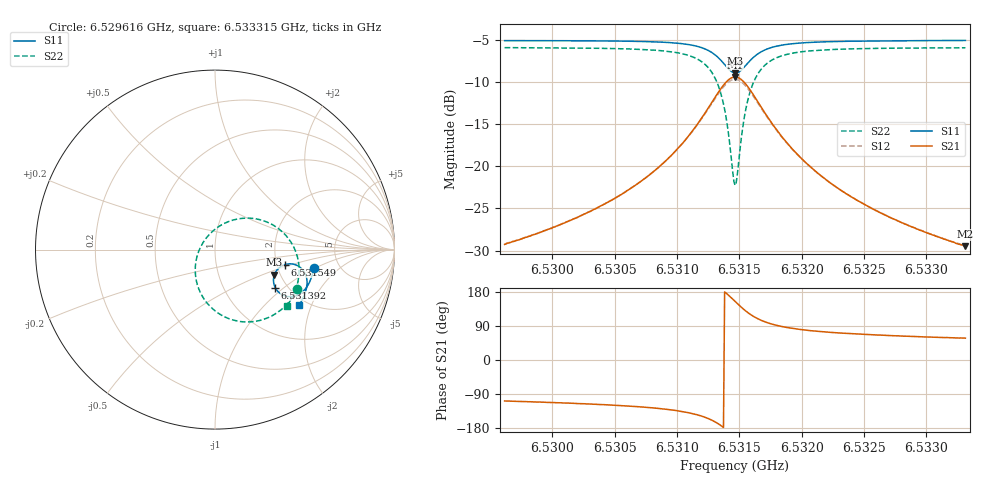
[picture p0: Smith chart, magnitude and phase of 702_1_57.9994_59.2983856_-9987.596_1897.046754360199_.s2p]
#  HZ  S  RI  R  50.00
! Rohde & Schwarz Vector Network Analyzer
! Rohde-Schwarz,ZNB20-2Port,1311601062101988,3.16
! Created: UTC 3/21/2024, 1:21:48 AM
! freq[Hz]  re:S11  im:S11  re:S21  im:S21  re:S12  im:S12  re:S22  im:S22
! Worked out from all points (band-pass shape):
!   401 points, 6.529616 GHz to 6.533315 GHz, reference 50 ohm
!   highest |S21| = -9.36 dB at 6.531466 GHz (marker M1); lowest = -29.5 dB at 6.533315 GHz (marker M2)
!   |S21| within 3 dB of the highest: 6.531281 GHz to 6.531651 GHz (369.9 kHz wide, 0.00566 % of centre)
!   lowest |S11| = -8.9 dB at 6.531466 GHz (marker M3), VSWR 2.12, Z = 93.2 - j29.9 ohm
!   |S11| at or under -10 dB: nowhere
!   |S22| runs from -22.2 to -5.9 dB; largest |S21 - S12| = 0.015
!   S11 on the Smith chart (normalised r, x): 6.529616 GHz: 3.24, -0.95; 6.531392 GHz: 1.73, -0.87; 6.531549 GHz: 2.21, -0.44; 6.533315 GHz: 1.82, -1.64
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6.5296164e9  0.551 -0.1011  -0.0107 -0.0327  -0.0113 -0.0326  0.4586 -0.2206
6.5302359e9  0.5375 -0.1535  -0.0219 -0.0463  -0.0231 -0.0458  0.422 -0.2791
6.5305687e9  0.5245 -0.1855  -0.0353 -0.0597  -0.037 -0.0587  0.3863 -0.3191
6.5308553e9  0.5047 -0.2178  -0.0611 -0.0784  -0.0634 -0.0764  0.3286 -0.3625
6.531068e9  0.4743 -0.2462  -0.1062 -0.0974  -0.1093 -0.0933  0.2381 -0.3974
6.5312344e9  0.4212 -0.2627  -0.1889 -0.0988  -0.1904 -0.0906  0.0888 -0.3884
6.5313269e9  0.3709 -0.2497  -0.266 -0.0593  -0.2631 -0.0479  -0.0366 -0.3065
6.5313638e9  0.3492 -0.2318  -0.2974 -0.0224  -0.2913 -0.0109  -0.082 -0.2382
6.5313916e9  0.3356 -0.2118  -0.3156 0.0158  -0.3067 0.0263  -0.1045 -0.1711
6.5314471e9  0.3265 -0.1586  -0.3197 0.1118  -0.3066 0.117  -0.0921 -0.013
6.5314656e9  0.331 -0.1398  -0.3084 0.1444  -0.295 0.1472  -0.0672 0.0381
6.531484e9  0.3394 -0.1223  -0.2909 0.1742  -0.2778 0.1746  -0.033 0.0829
6.531521e9  0.365 -0.0953  -0.242 0.2191  -0.2315 0.2159  0.0547 0.1475
6.5315488e9  0.3882 -0.0838  -0.2004 0.2377  -0.1921 0.2334  0.1265 0.1707
6.5315765e9  0.4109 -0.0794  -0.16 0.2447  -0.154 0.24  0.1944 0.1752
6.5316135e9  0.4382 -0.0815  -0.1133 0.241  -0.1094 0.2367  0.2718 0.1604
6.5317059e9  0.4819 -0.1056  -0.0388 0.2043  -0.0369 0.2019  0.3918 0.0822
6.5318446e9  0.507 -0.145  0.00488 0.1492  0.00606 0.1484  0.4552 -0.0272
6.532085e9  0.5128 -0.1922  0.022 0.0949  0.023 0.0944  0.4679 -0.1383
6.5323439e9  0.5068 -0.226  0.0233 0.0661  0.0244 0.0656  0.456 -0.2027
6.5327045e9  0.4942 -0.261  0.0214 0.045  0.0223 0.0448  0.4345 -0.257
6.5333147e9  0.4696 -0.3081  0.018 0.0283  0.0186 0.0281  0.399 -0.3145
